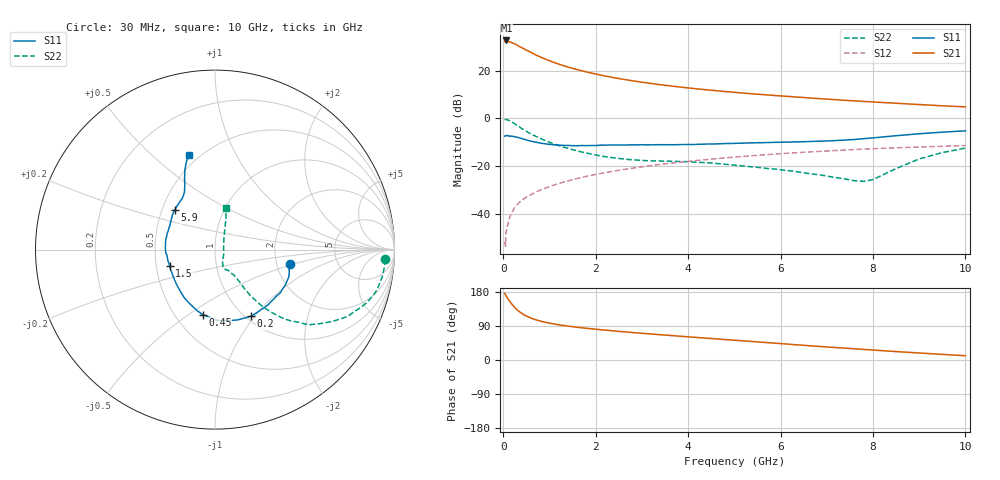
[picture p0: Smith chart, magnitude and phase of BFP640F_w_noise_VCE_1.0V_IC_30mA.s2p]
! Infineon Technologies  Discrete & RF Semiconductors
! BFP640F
! VCE =  1.0 V,  IC =  30 mA
! Common Emitter S-Parameters:  Apr 2013
# GHz  S  MA  R  50
!  f  S11  S21  S12  S22
! GHz  MAG  ANG  MAG  ANG  MAG  ANG  MAG  ANG
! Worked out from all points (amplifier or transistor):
!   99 points, 30 MHz to 10 GHz, reference 50 ohm
!   highest |S21| = 32.7 dB at 70 MHz (marker M1)
!   |S21| within 3 dB of that: start of sweep to 402.6 MHz
!   unconditionally stable (mu >= 1): 1.599 GHz to end of sweep
!   at 350 MHz: K = 0.49, MSG = 32.6 dB, |S12| = -35.2 dB
!   at 3.5 GHz: K = 1.07, MAG = 14.9 dB, |S12| = -19.1 dB
!   at 10 GHz: K = 1.05, MAG = 6.7 dB, |S12| = -11.4 dB
!   lowest NFmin = 1.02 dB at 450 MHz
!   S11 on the Smith chart (normalised r, x): 30 MHz: 2.37, -0.45; 200 MHz: 1.06, -0.96; 450 MHz: 0.68, -0.57; 1.5 GHz: 0.59, -0.12; 5.9 GHz: 0.58, +0.29; 10 GHz: 0.44, +0.67
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0.03  0.4244 -10.6  40.61 175.8  0.0024 85.2  0.9495 -3.3
0.05  0.4319 -16.7  42.4 172.6  0.0021 74.2  0.9479 -6.5
0.07  0.438 -23.4  43 167.9  0.0045 79.0  0.9433 -9.5
0.11  0.4293 -37.1  41.09 159.9  0.0069 74.7  0.9202 -15.7
0.15  0.4251 -48.5  40.02 153.4  0.009 75.5  0.8787 -21.1
0.2  0.4227 -61.4  38.18 145.2  0.0112 72.7  0.8255 -26.9
0.25  0.4115 -72.0  36.44 138.6  0.0136 70.5  0.7667 -31.5
0.3  0.4027 -80.8  34.5 132.5  0.0154 69.9  0.7132 -35.4
0.35  0.3927 -89.3  32.02 127.4  0.0174 69.3  0.6672 -38.9
0.45  0.3687 -100.7  28.72 119.2  0.0207 68.5  0.5795 -43.3
0.6  0.3332 -114.8  24.12 110.7  0.0252 67.3  0.4716 -48.0
0.8  0.3044 -128.4  19.47 102.8  0.0315 67.3  0.3804 -51.0
1.1  0.2797 -144.4  14.88 95.0  0.0402 67.7  0.2908 -52.7
1.5  0.2685 -160.2  11.18 88.0  0.052 67.4  0.2212 -52.7
1.7  0.2695 -166.5  9.924 85.0  0.0581 67.1  0.1973 -52.7
2.4  0.2769 177.9  7.128 76.7  0.0787 64.5  0.1492 -56.3
3.4  0.2814 161.3  5.082 66.7  0.1082 59.8  0.1278 -61.5
5.1  0.3016 142.6  3.456 51.3  0.1573 50.2  0.1028 -64.1
5.9  0.3159 135.4  3.004 44.2  0.1793 45.2  0.0862 -60.1
6.7  0.3293 126.8  2.652 37.0  0.2 40.0  0.0683 -50.1
8.5  0.4336 113.0  2.077 22.2  0.242 28.4  0.0888 55.4
10  0.5482 105.3  1.742 11.3  0.2699 19.5  0.2385 75.7
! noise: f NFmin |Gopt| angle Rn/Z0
0.45  1.02  0.21  -173  0.07
0.9  1.03  0.22  -168  0.07
1.5  1.05  0.23  -162  0.08
1.9  1.08  0.24  -156  0.08
2.4  1.11  0.24  -146  0.09
3.5  1.19  0.25  -137  0.1
5.5  1.38  0.26  -119  0.14
10  1.83  0.45  -83  0.47
